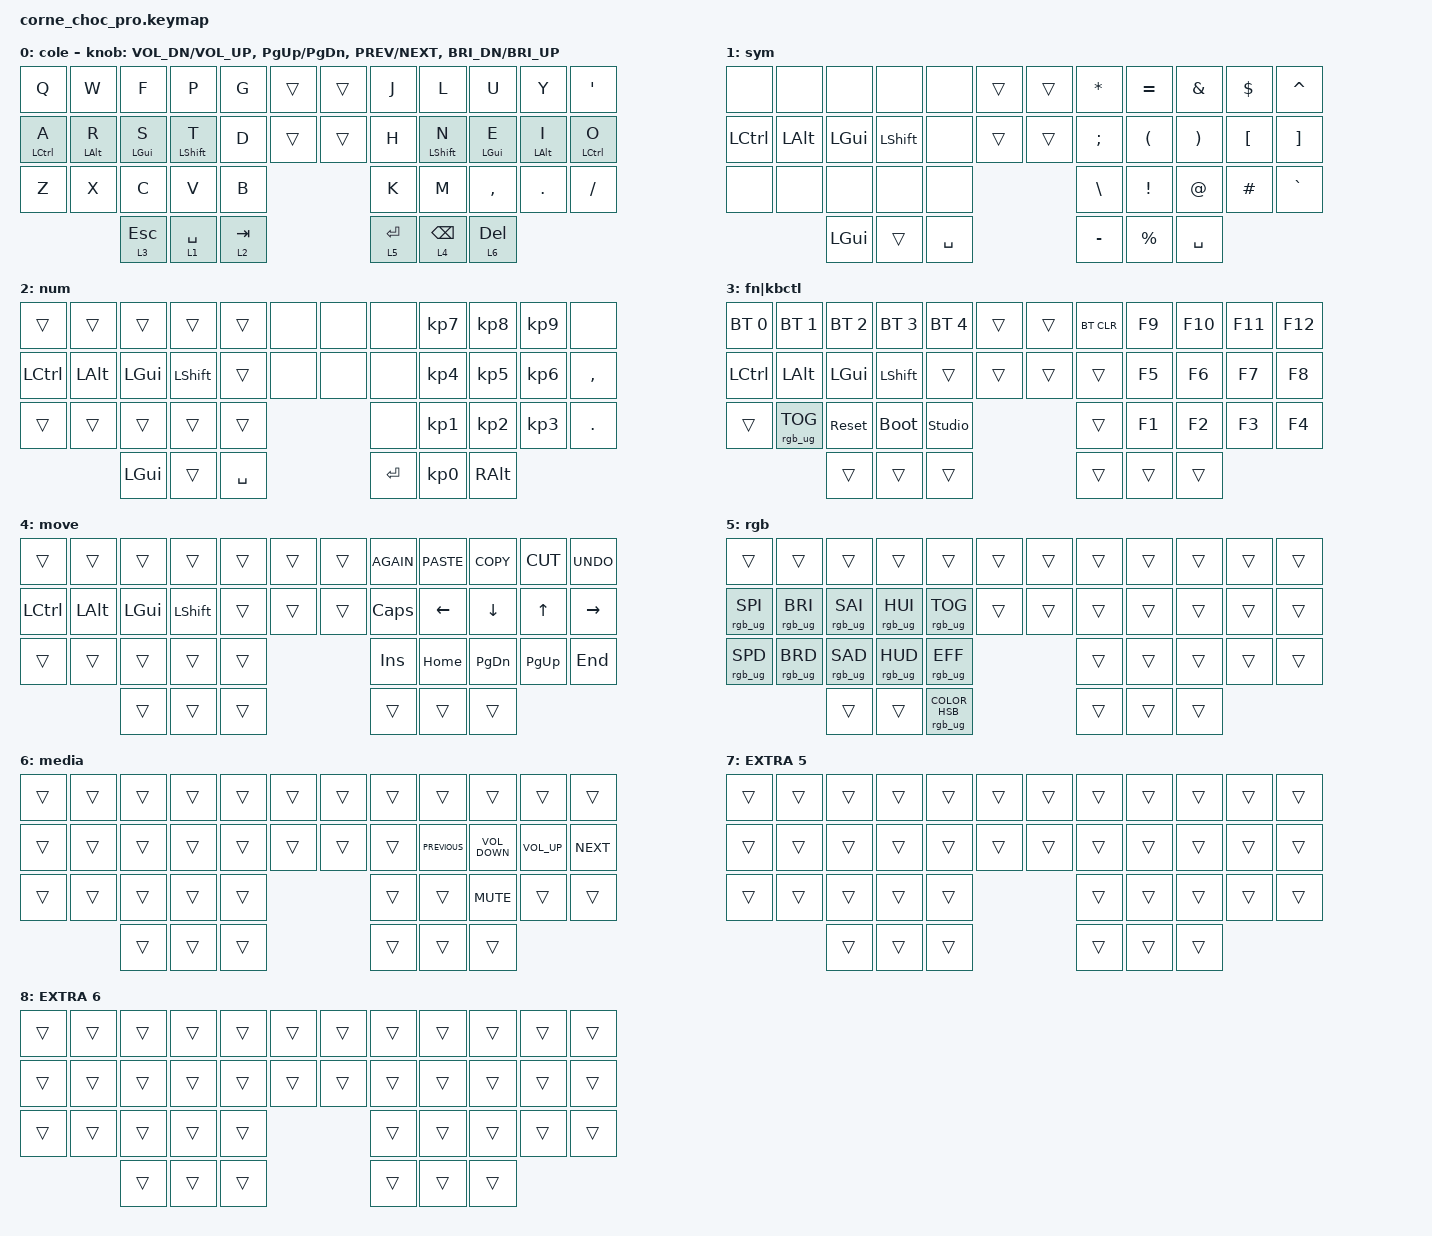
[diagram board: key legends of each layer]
/*
 * Copyright (c) 2020 The ZMK Contributors
 *
 * SPDX-License-Identifier: MIT
 */

#include <behaviors.dtsi>
#include <dt-bindings/zmk/bt.h>
#include <dt-bindings/zmk/keys.h>
#include <dt-bindings/zmk/rgb.h>

&mt { tapping-term-ms = <225>; };

&lt { tapping-term-ms = <225>; };

/ {
    chosen { zmk,physical-layout = &five_col_layout; };
};

/ {
    keymap {
        compatible = "zmk,keymap";

        default_layer {
            display-name = "cole";

            // --------------------------------------------------------------------------------
            // |  TAB |  Q  |  W  |  E  |  R  |  T  |  MUTE |  PP   |  Y  |  U   |  I  |  O  |  P  | BSPC |
            // | CTRL |  A  |  S  |  D  |  F  |  G  |  LALT |  RALT |  H  |  J   |  K  |  L  |  ;  |  '   |
            // | SHFT |  Z  |  X  |  C  |  V  |  B  |               |  N  |  M   |  ,  |  .  |  /  | ESC  |
            //                    | GUI | LWR | SPC |               | ENT | RSE  | ALT |

            bindings = <
  &kp Q               &kp W           &kp F           &kp P             &kp G      &trans  &trans  &kp J        &kp L             &kp U           &kp Y           &kp SQT
  &mt LEFT_CONTROL A  &mt LEFT_ALT R  &mt LEFT_GUI S  &mt LEFT_SHIFT T  &kp D      &trans  &trans  &kp H        &mt LEFT_SHIFT N  &mt LEFT_GUI E  &mt LEFT_ALT I  &mt LEFT_CONTROL O
  &kp Z               &kp X           &kp C           &kp V             &kp B                      &kp K        &kp M             &kp COMMA       &kp DOT         &kp FSLH
                                      &lt 3 ESC       &lt 1 SPACE       &lt 2 TAB                  &lt 5 ENTER  &lt 4 BACKSPACE   &lt 6 DEL
            >;

            sensor-bindings = <&inc_dec_kp C_VOL_DN C_VOL_UP &inc_dec_kp PG_UP PG_DN &inc_dec_kp C_PREV C_NEXT &inc_dec_kp C_BRI_DN C_BRI_UP>;
        };

        symbols {
            display-name = "sym";

            // -----------------------------------------------------------------------------------------
            // |  TAB |  1  |  2  |  3  |  4  |  5    |  LCTRL | RCTRL |  6  |  7  |  8  |  9  |  0  | BSPC |
            // | CTRL | BT1 | BT2 | BT3 | BT4 | BT5   |  LALT  | RALT  | LFT | DWN |  UP | RGT |     |      |
            // | SHFT | BTCR| RGB | RST | BOOT| Unlock|        |       |     |     |     |     |     |      |
            //                    | GUI |     | SPC   |        | ENT   |     | ALT |

            bindings = <
  &none             &none         &none         &none           &none      &trans  &trans  &kp ASTERISK   &kp EQUAL             &kp AMPERSAND          &kp DOLLAR        &kp CARET
  &kp LEFT_CONTROL  &kp LEFT_ALT  &kp LEFT_GUI  &kp LEFT_SHIFT  &none      &trans  &trans  &kp SEMICOLON  &kp LEFT_PARENTHESIS  &kp RIGHT_PARENTHESIS  &kp LEFT_BRACKET  &kp RIGHT_BRACKET
  &none             &none         &none         &none           &none                      &kp BACKSLASH  &kp EXCLAMATION       &kp AT_SIGN            &kp HASH          &kp GRAVE
                                  &kp LGUI      &trans          &kp SPACE                  &kp MINUS      &kp PERCENT           &kp SPACE
            >;
        };

        numbers {
            display-name = "num";

            // -----------------------------------------------------------------------------------------
            // |  TAB |  !  |  @  |  #  |  $  |  %  | LCTRL | RCTRL |  ^  |  &  |  *  |  (  |  )  | BSPC |
            // | CTRL |     |     |     |     |     |  LALT | RALT  |  -  |  =  |  [  |  ]  |  \  |  `   |
            // | SHFT |     |     |     |     |     |               |  _  |  +  |  {  |  }  | "|" |  ~   |
            //                    | GUI |     | SPC |               | ENT |     | ALT |

            bindings = <
  &trans            &trans        &trans        &trans          &trans     &none  &none  &none    &kp KP_NUMBER_7  &kp KP_NUMBER_8  &kp KP_NUMBER_9  &none
  &kp LEFT_CONTROL  &kp LEFT_ALT  &kp LEFT_GUI  &kp LEFT_SHIFT  &trans     &none  &none  &none    &kp KP_NUMBER_4  &kp KP_NUMBER_5  &kp KP_NUMBER_6  &kp COMMA
  &trans            &trans        &trans        &trans          &trans                   &none    &kp KP_NUMBER_1  &kp KP_NUMBER_2  &kp KP_NUMBER_3  &kp PERIOD
                                  &kp LGUI      &trans          &kp SPACE                &kp RET  &kp KP_NUMBER_0  &kp RALT
            >;
        };

        fnkbdctl {
            display-name = "fn|kbctl";
            bindings = <
  &bt BT_SEL 0  &bt BT_SEL 1     &bt BT_SEL 2  &bt BT_SEL 3  &bt BT_SEL 4    &trans  &trans  &bt BT_CLR  &kp F9  &kp F10  &kp F11  &kp F12
  &kp LCTRL     &kp LALT         &kp LGUI      &kp LSHFT     &trans          &trans  &trans  &trans      &kp F5  &kp F6   &kp F7   &kp F8
  &trans        &rgb_ug RGB_TOG  &sys_reset    &bootloader   &studio_unlock                  &trans      &kp F1  &kp F2   &kp F3   &kp F4
                                 &trans        &trans        &trans                          &trans      &trans  &trans
            >;
        };

        movement {
            display-name = "move";
            bindings = <
  &trans     &trans    &trans    &trans     &trans  &trans  &trans  &kp K_AGAIN   &kp K_PASTE  &kp K_COPY     &kp K_CUT    &kp K_UNDO
  &kp LCTRL  &kp LALT  &kp LGUI  &kp LSHFT  &trans  &trans  &trans  &kp CAPSLOCK  &kp LEFT     &kp DOWN       &kp UP       &kp RIGHT
  &trans     &trans    &trans    &trans     &trans                  &kp INSERT    &kp HOME     &kp PAGE_DOWN  &kp PAGE_UP  &kp END
                       &trans    &trans     &trans                  &trans        &trans       &trans
            >;
        };

        rgb {
            display-name = "rgb";
            bindings = <
  &trans           &trans           &trans           &trans           &trans                            &trans  &trans  &trans  &trans  &trans  &trans  &trans
  &rgb_ug RGB_SPI  &rgb_ug RGB_BRI  &rgb_ug RGB_SAI  &rgb_ug RGB_HUI  &rgb_ug RGB_TOG                   &trans  &trans  &trans  &trans  &trans  &trans  &trans
  &rgb_ug RGB_SPD  &rgb_ug RGB_BRD  &rgb_ug RGB_SAD  &rgb_ug RGB_HUD  &rgb_ug RGB_EFF                                   &trans  &trans  &trans  &trans  &trans
                                    &trans           &trans           &rgb_ug RGB_COLOR_HSB(183,94,48)                  &trans  &trans  &trans
            >;
        };

        media {
            display-name = "media";
            bindings = <
  &trans  &trans  &trans  &trans  &trans  &trans  &trans  &trans  &trans          &trans             &trans           &trans
  &trans  &trans  &trans  &trans  &trans  &trans  &trans  &trans  &kp K_PREVIOUS  &kp K_VOLUME_DOWN  &kp K_VOLUME_UP  &kp K_NEXT
  &trans  &trans  &trans  &trans  &trans                  &trans  &trans          &kp K_MUTE         &trans           &trans
                  &trans  &trans  &trans                  &trans  &trans          &trans
            >;
        };

        extra_layer_5 {
            display-name = "EXTRA 5";
            bindings = <
  &trans  &trans  &trans  &trans  &trans  &trans  &trans  &trans  &trans  &trans  &trans  &trans
  &trans  &trans  &trans  &trans  &trans  &trans  &trans  &trans  &trans  &trans  &trans  &trans
  &trans  &trans  &trans  &trans  &trans                  &trans  &trans  &trans  &trans  &trans
                  &trans  &trans  &trans                  &trans  &trans  &trans
            >;
        };

        extra_layer_6 {
            display-name = "EXTRA 6";
            bindings = <
  &trans  &trans  &trans  &trans  &trans  &trans  &trans  &trans  &trans  &trans  &trans  &trans
  &trans  &trans  &trans  &trans  &trans  &trans  &trans  &trans  &trans  &trans  &trans  &trans
  &trans  &trans  &trans  &trans  &trans                  &trans  &trans  &trans  &trans  &trans
                  &trans  &trans  &trans                  &trans  &trans  &trans
            >;
        };
    };
};
